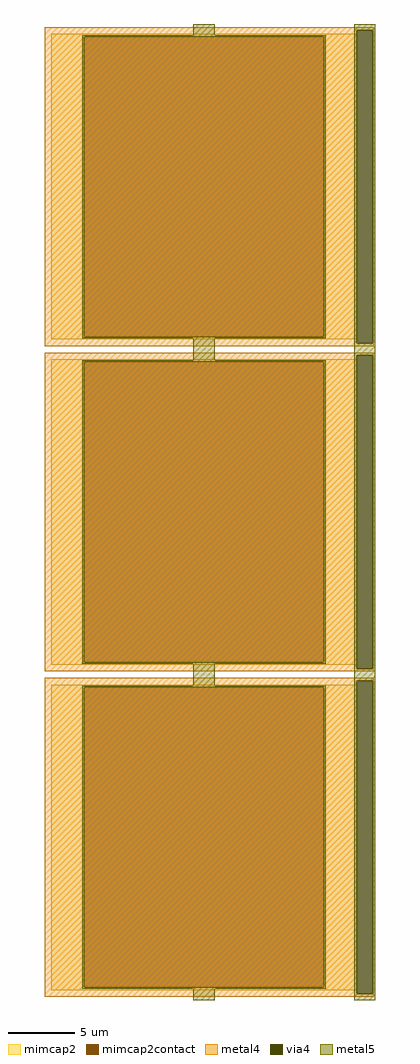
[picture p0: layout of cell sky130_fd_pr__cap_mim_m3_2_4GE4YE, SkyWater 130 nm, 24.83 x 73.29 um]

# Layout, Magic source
magic
tech sky130A
magscale 1 2
<< metal4 >>
rect -2472 7238 2472 7279
rect -2472 2534 2216 7238
rect 2452 2534 2472 7238
rect -2472 2493 2472 2534
rect -2472 2352 2472 2393
rect -2472 -2352 2216 2352
rect 2452 -2352 2472 2352
rect -2472 -2393 2472 -2352
rect -2472 -2534 2472 -2493
rect -2472 -7238 2216 -2534
rect 2452 -7238 2472 -2534
rect -2472 -7279 2472 -7238
<< via4 >>
rect 2216 2534 2452 7238
rect 2216 -2352 2452 2352
rect 2216 -7238 2452 -2534
<< mimcap2 >>
rect -2372 7139 2214 7179
rect -2372 2633 -1881 7139
rect 1723 2633 2214 7139
rect -2372 2593 2214 2633
rect -2372 2253 2214 2293
rect -2372 -2253 -1881 2253
rect 1723 -2253 2214 2253
rect -2372 -2293 2214 -2253
rect -2372 -2633 2214 -2593
rect -2372 -7139 -1881 -2633
rect 1723 -7139 2214 -2633
rect -2372 -7179 2214 -7139
<< mimcap2contact >>
rect -1881 2633 1723 7139
rect -1881 -2253 1723 2253
rect -1881 -7139 1723 -2633
<< metal5 >>
rect -239 7163 81 7329
rect 2174 7238 2494 7329
rect -1905 7139 1747 7163
rect -1905 2633 -1881 7139
rect 1723 2633 1747 7139
rect -1905 2609 1747 2633
rect -239 2277 81 2609
rect 2174 2534 2216 7238
rect 2452 2534 2494 7238
rect 2174 2352 2494 2534
rect -1905 2253 1747 2277
rect -1905 -2253 -1881 2253
rect 1723 -2253 1747 2253
rect -1905 -2277 1747 -2253
rect -239 -2609 81 -2277
rect 2174 -2352 2216 2352
rect 2452 -2352 2494 2352
rect 2174 -2534 2494 -2352
rect -1905 -2633 1747 -2609
rect -1905 -7139 -1881 -2633
rect 1723 -7139 1747 -2633
rect -1905 -7163 1747 -7139
rect -239 -7329 81 -7163
rect 2174 -7238 2216 -2534
rect 2452 -7238 2494 -2534
rect 2174 -7329 2494 -7238
<< properties >>
string FIXED_BBOX -2472 2493 2314 7279
string gencell sky130_fd_pr__cap_mim_m3_2
string library sky130
string parameters w 22.93 l 22.93 val 1.068k carea 2.00 cperi 0.19 nx 1 ny 3 dummy 0 square 0 lmin 2.00 wmin 2.00 lmax 30.0 wmax 30.0 dc 0 bconnect 1 tconnect 1 ccov 80
<< end >>
